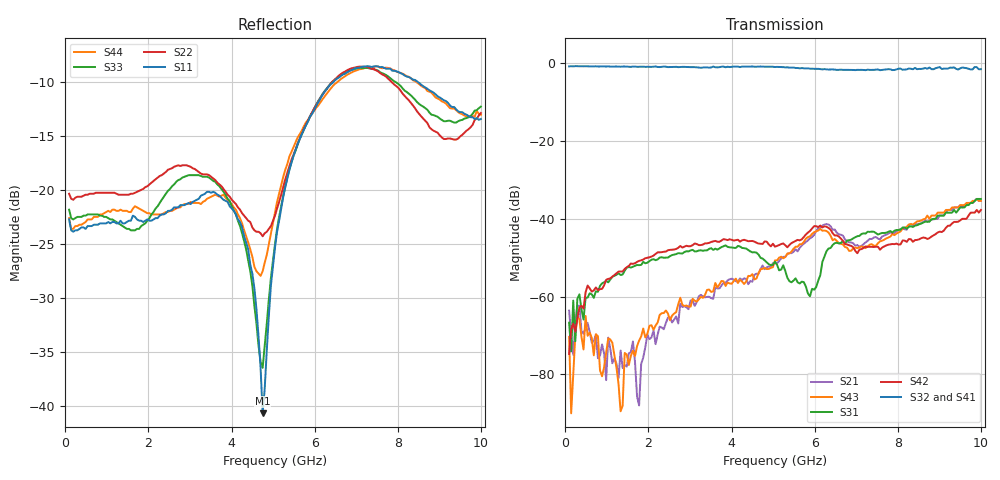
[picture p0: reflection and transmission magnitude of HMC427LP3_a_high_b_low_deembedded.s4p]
!Hittite Microwave Corporation
!12 Elizabeth Drive
!Chelmsford, MA 01824
!Tel: 978-250-3343
!Fax: 978-250-3373
!Device: HMC427LP3, DC - 8 GHz GaAs MMIC Positive Control Transfer Switch in Leadless LP3 SMT Package
!Misc: Port 1 = RF1, Port 2 = RF2, Port 3 = RF3, Port 4 = RF4, Vctl=+5V, CtlA=High, CtlB=Low, Room
# MHZ S MA R 50
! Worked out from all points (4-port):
!   201 points, 90 MHz to 10 GHz, reference 50 ohm
!   strongest paths, dB at 90 MHz, 2.567 GHz, 5.045 GHz, 7.522 GHz, 10 GHz:
!     S32: -0.8, -1.0, -1.0, -1.6, -1.6
!     S41: -0.8, -0.9, -0.9, -1.8, -1.7
!     S42: -74.7, -47.9, -47.2, -47.2, -37.7
!     S31: -66.7, -49.3, -51.1, -44.0, -34.9
!     S43: -70.3, -64.9, -50.7, -46.3, -35.4
!     S21: -63.6, -66.6, -51.4, -45.1, -35.4
!   lowest |S11| = -40.7 dB at 4.748 GHz (marker M1), VSWR 1.02, Z = 49.5 - j0.773 ohm
!   |S11| at or under -10 dB: start of sweep to 6.453 GHz; 8.481 GHz to end of sweep
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90  0.073 -20.5  0.001025 22.9  0.0006639 7.0  0.915 0.5
    0.000662 -151.5  0.096 -11.2  0.908 0.8  0.0005885 77.9
    0.0004633 -135.1  0.909 0.7  0.081 -16.8  0.0005586 27.3
    0.908 0.8  0.0001836 10.2  0.0003044 -47.1  0.074 -18.7
189.1  0.064 -11.2  8.01e-05 7.4  0.000524 73.3  0.909 -0.6
       0.0001792 40.1  0.09 -8.4  0.91 -0.7  0.000275 1.1
       0.000889 73.0  0.91 -0.6  0.073 -10.9  0.0001241 -40.2
       0.912 -1.0  0.0004516 61.9  9.813e-05 -137.9  0.066 -9.3
1576.5  0.072 -52.8  0.0001009 148.0  0.002258 84.2  0.892 -2.1
        0.000194 164.9  0.096 -50.2  0.897 -3.1  0.002584 95.6
        0.002367 86.7  0.895 -2.7  0.065 -56.6  0.0002686 -164.3
        0.901 -2.2  0.002663 93.7  0.000174 -128.4  0.079 -53.9
4054  0.08 -39.3  0.00147 -154.5  0.004252 80.9  0.895 -3.3
      0.001666 -162.3  0.088 -10.2  0.901 -5.0  0.005107 97.4
      0.004235 82.5  0.904 -5.1  0.08 -35.8  0.001716 -160.0
      0.89 -2.6  0.005262 97.6  0.00159 -163.2  0.083 -7.6
4747.7  0.009238 -122.3  0.00251 -142.1  0.003076 72.8  0.899 -5.1
        0.002513 -140.4  0.061 42.6  0.886 -7.0  0.004713 107.4
        0.003081 76.7  0.901 -7.7  0.015 51.2  0.002613 -142.9
        0.895 -4.6  0.004759 103.2  0.002279 -143.1  0.042 63.2
6234.2  0.284 101.5  0.008612 -155.8  0.003165 -111.9  0.835 -7.6
        0.008435 -155.3  0.284 106.1  0.835 -11.5  0.008083 114.2
        0.003263 -107.6  0.837 -11.6  0.286 101.8  0.006999 -171.8
        0.836 -7.6  0.007996 115.6  0.007062 -173.3  0.27 103.5
10000  0.213 7.7  0.017 -153.3  0.018 -157.1  0.84 -19.9
       0.017 -151.9  0.227 -27.5  0.87 -30.0  0.013 -159.1
       0.018 -156.1  0.836 -28.5  0.243 -8.2  0.018 -155.0
       0.821 -18.6  0.013 -158.4  0.017 -152.9  0.223 -13.8
